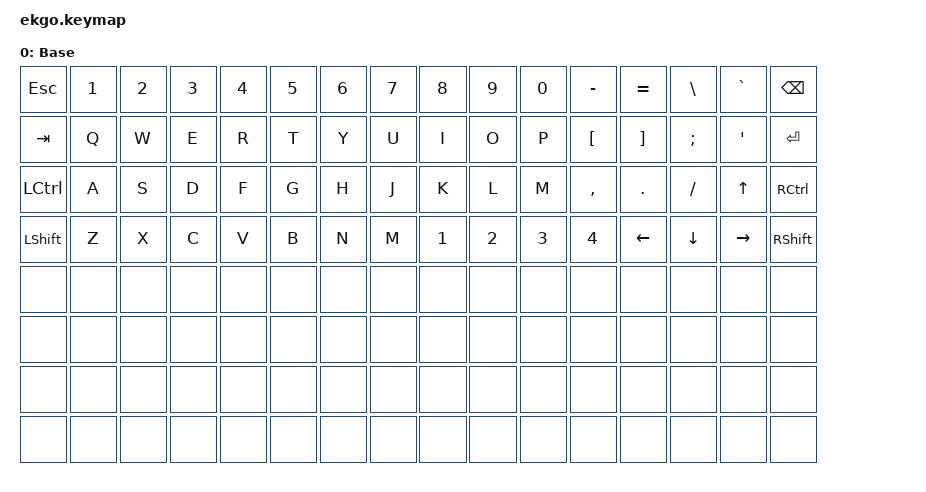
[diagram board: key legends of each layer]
#include <behaviors.dtsi>
#include <dt-bindings/zmk/keys.h>

/ {
    keymap {
        compatible = "zmk,keymap";
        default_layer {
            label = "Base";
            bindings = <
                // Row 0
                &kp ESC   &kp N1 &kp N2 &kp N3 &kp N4 &kp N5 &kp N6 &kp N7   &kp N8 &kp N9 &kp N0 &kp MINUS &kp EQUAL &kp BSLH &kp GRAVE &kp BSPC
                // Row 1
                &kp TAB   &kp Q  &kp W  &kp E  &kp R  &kp T  &kp Y  &kp U    &kp I  &kp O  &kp P  &kp LBKT  &kp RBKT  &kp SEMI &kp SQT   &kp RET
                // Row 2
                &kp LCTRL &kp A  &kp S  &kp D  &kp F  &kp G  &kp H  &kp J    &kp K  &kp L  &kp M  &kp COMMA &kp DOT   &kp FSLH &kp UP    &kp RCTRL
                // Row 3
                &kp LSHFT &kp Z  &kp X  &kp C  &kp V  &kp B  &kp N  &kp M    &kp N1 &kp N2 &kp N3 &kp N4    &kp LEFT  &kp DOWN &kp RIGHT &kp RSHFT
                // Row 4-7: Add additional keycodes for remaining 4 rows
                &none &none &none &none &none &none &none &none           &none &none &none &none &none &none &none &none
                &none &none &none &none &none &none &none &none           &none &none &none &none &none &none &none &none
                &none &none &none &none &none &none &none &none           &none &none &none &none &none &none &none &none
                &none &none &none &none &none &none &none &none           &none &none &none &none &none &none &none &none
            >; // 64 bindings for 8x8 matrix; adjust to match transform map
        };
    };
};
